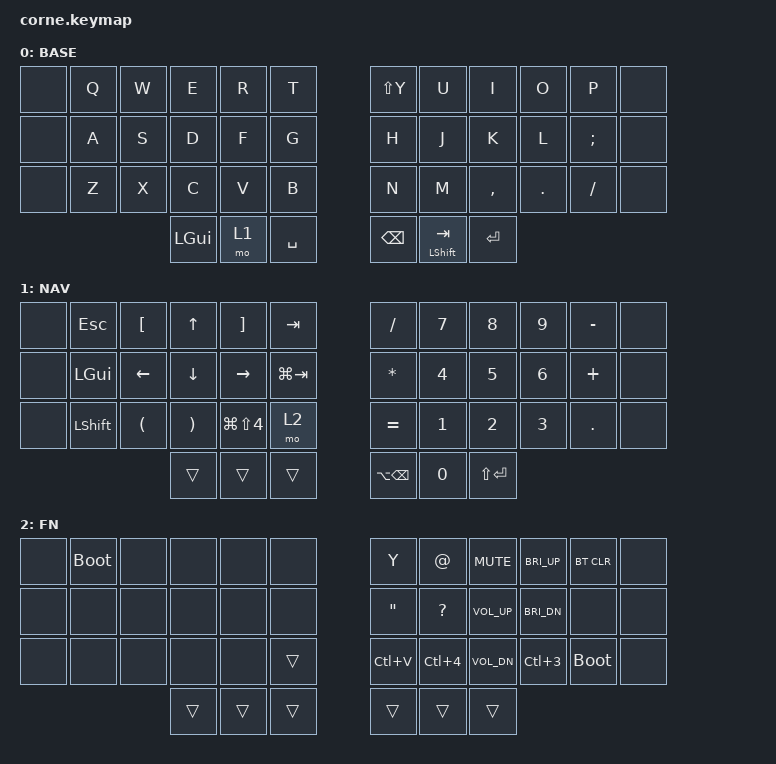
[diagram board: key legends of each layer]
#include <behaviors.dtsi>
#include <dt-bindings/zmk/keys.h>
#include <dt-bindings/zmk/bt.h>

// Corne, 5 columns: the same 36-key layout as the KLOR in xkhanhs/zmk-config-klor
// (klor.keymap). The outer column of each half is &none on every layer; the
// matrix still has 42 positions, so only the left half needs flashing.
// Firmware sends QWERTY keycodes; on the host VTX (Colemak mode) remaps them
// to Colemak DH-Viet, so the comments show the character under DH-Viet.
//
// ZMK Studio is enabled on the left half. Besides the reset button under the
// OLED, FN + the left top-left key or the right bottom-right key reboots that
// half into the bootloader. FN is NAV held with the left index held on B.

#define XXX &none

/ {
	keymap {
		compatible = "zmk,keymap";

		default_layer {
			display-name = "BASE";
			// The ; key of DH-Viet sends Shift so it types ":"; plain ";" is on FN.
			// The right middle thumb is Shift held and Tab tapped, so Cmd+Tab is
			// the left thumb holding GUI and the right thumb tapping, and each
			// further tap moves on through the app switcher. &mt is
			// hold-preferred, so a key pressed while it is down is shifted.
			// It is the only Shift: the left middle thumb only holds NAV.
			// |  q  |  w  |  f  |  g  |  b  |   |  :  |  l  |  u  |  y  |  x  |
			// |  a  |  h  |  s  |  t  |  p  |   |  m  |  n  |  e  |  o  |  i  |
			// |  j  |  v  |  r  |  c  |  z  |   |  k  |  d  |  ,  |  .  |  /  |
			//       | GUI | NAV | SPC |   | BSPC|⇧/TAB| ENT |
			bindings = <
&none &kp Q &kp W &kp E &kp R &kp T   &kp LS(Y) &kp U &kp I &kp O   &kp P   &none
&none &kp A &kp S &kp D &kp F &kp G   &kp H &kp J &kp K     &kp L   &kp SEMI   &none
&none &kp Z &kp X &kp C &kp V &kp B   &kp N &kp M &kp COMMA &kp DOT &kp FSLH   &none
      &kp LGUI &mo 1 &kp SPACE   &kp BSPC &mt LSHFT TAB &kp RET
			>;
		};

		nav_layer {
			display-name = "NAV";
			// Left hand moves, right hand is a numpad. CMDTAB returns to the
			// last app in one press, SHOT4 is Cmd+Shift+4, FN is held on top
			// of NAV. NAV is on only while its thumb is held. DELWD is
			// Option+Backspace, delete word.
			// | ESC  |  [   |  UP  |  ]   | TAB  |   |  /   |  7   |  8   |  9   |  -   |
			// | GUI  | LEFT | DOWN | RGHT |CMDTAB|   |  *   |  4   |  5   |  6   |  +   |
			// | SHFT |  (   |  )   | SHOT4|  FN  |   |  =   |  1   |  2   |  3   |  .   |
			//               |      | held |      |   | DELWD|  0   | S-ENT|
			bindings = <
&none &kp ESC   &kp LBKT &kp UP   &kp RBKT       &kp TAB       &kp FSLH  &kp N7 &kp N8 &kp N9 &kp MINUS   &none
&none &kp LGUI  &kp LEFT &kp DOWN &kp RIGHT      &kp LG(TAB)   &kp STAR  &kp N4 &kp N5 &kp N6 &kp PLUS   &none
&none &kp LSHFT &kp LPAR &kp RPAR &kp LG(LS(N4)) &mo 2         &kp EQUAL &kp N1 &kp N2 &kp N3 &kp DOT   &none
                   &trans   &trans         &trans        &kp LA(BSPC) &kp N0 &kp LS(RET)
			>;
		};

		fn_layer {
			display-name = "FN";
			// Everything usable is on the right hand: the left index holds FN
			// while the left thumb holds NAV. Empty cells are &none so a stray
			// touch does not type a NAV digit. BTCLR clears the selected
			// Bluetooth profile. C-4 and C-3 pick an input source directly (they used
			// to sit on the outer column of BASE). BOOT reboots that half into the bootloader for flashing.
			// The ; cell sends Y, which is ; on DH-Viet.
			// | BOOT |      |      |      |      |   |  ;   |  @   | MUTE | BRI+ | BTCLR|
			// |      |      |      |      |      |   |  "   |  ?   | VOL+ | BRI- |      |
			// |      |      |      |      | held |   | C-c  | C-4  | VOL- | C-3  | BOOT |
			bindings = <
&none &bootloader XXX XXX XXX XXX      &kp Y      &kp AT     &kp C_MUTE   &kp C_BRI_UP &bt BT_CLR   &none
&none XXX         XXX XXX XXX XXX      &kp DQT    &kp QMARK  &kp C_VOL_UP &kp C_BRI_DN XXX   &none
&none XXX         XXX XXX XXX &trans   &kp LC(V)  &kp LC(N4) &kp C_VOL_DN &kp LC(N3)   &bootloader   &none
            &trans &trans &trans   &trans &trans &trans
			>;
		};
	};
};
